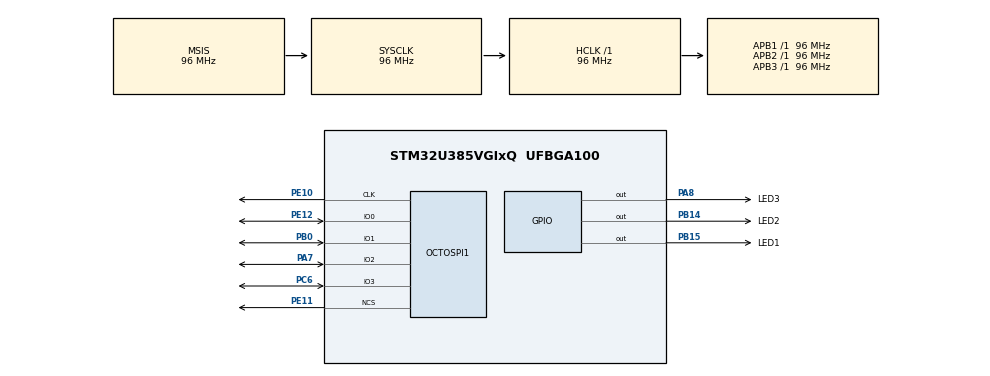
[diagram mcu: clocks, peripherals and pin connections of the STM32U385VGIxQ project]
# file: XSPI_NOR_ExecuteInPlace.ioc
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CORTEX_M33_NS.userName=CORTEX_M33
Mcu.Family=STM32U3
Mcu.Name=STM32U385VGIxQ
Mcu.Package=UFBGA100
NVIC.OCTOSPI1_IRQn=true\:0\:0\:false\:false\:true\:true\:true\:true
NVIC.PriorityGroup=NVIC_PRIORITYGROUP_4
OCTOSPI1.ChipSelectHighTimeCycle=2
OCTOSPI1.ClockPrescaler=1
OCTOSPI1.DelayHoldQuarterCycle=HAL_XSPI_DHQC_DISABLE
OCTOSPI1.DeviceType=SPI_DEVICE_FLASH
OCTOSPI1.MemorySize=HAL_XSPI_SIZE_32MB
OCTOSPI1.MemoryType=HAL_XSPI_MEMTYPE_MACRONIX
OCTOSPI1.SampleShifting=HAL_XSPI_SAMPLE_SHIFT_HALFCYCLE
PA7.Mode=OCTOSPI1_IO[3\:0]
PA7.Signal=OCTOSPI1_IO2
PA8.GPIO_Label=LED3
PA8.PinState=GPIO_PIN_SET
PA8.Signal=GPIO_Output
PB0.Mode=OCTOSPI1_IO[3\:0]
PB0.Signal=OCTOSPI1_IO1
PB14.GPIO_Label=LED2
PB14.PinState=GPIO_PIN_SET
PB14.Signal=GPIO_Output
PB15.GPIO_Label=LED1
PB15.PinState=GPIO_PIN_SET
PB15.Signal=GPIO_Output
PC6.Mode=OCTOSPI1_IO[3\:0]
PC6.Signal=OCTOSPI1_IO3
PE10.Mode=quad_mode
PE10.Signal=OCTOSPI1_CLK
PE11.Mode=quad_mode
PE11.Signal=OCTOSPI1_NCS
PE12.Mode=OCTOSPI1_IO[3\:0]
PE12.Signal=OCTOSPI1_IO0
ProjectManager.HeapSize=0x200
ProjectManager.StackSize=0x400
ProjectManager.TargetToolchain=EWARM V9.20
RCC.ADCFreq_Value=96000000
RCC.AHBFreq_Value=96000000
RCC.APB1Freq_Value=96000000
RCC.APB1TimFreq_Value=96000000
RCC.APB2Freq_Value=96000000
RCC.APB2TimFreq_Value=96000000
RCC.APB3Freq_Value=96000000
RCC.CortexFreq_Value=12000000
RCC.HCLKFreq_Value=96000000
RCC.HSE_VALUE=16000000
RCC.HSI48_VALUE=48000000
RCC.HSI_VALUE=16000000
RCC.LSE_VALUE=32768
RCC.LSIDIV_VALUE=32000
RCC.MSISDIV=RCC_MSI_DIV1
RCC.OCTOSPIMCLockSelection=RCC_OCTOSPICLKSOURCE_MSIK
RCC.SYSCLKFreq_VALUE=96000000
RCC.USBFreq_Value=96000000
VP_ICACHE_VS_ICACHE.Mode=DirectMappedCache
VP_PWR_VS_DBSignals.Mode=DisableDeadBatterySignals
VP_PWR_VS_LPOM.Mode=PowerOptimisation
VP_PWR_VS_SECSignals.Mode=Security/Privilege
board=custom

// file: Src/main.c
/* USER CODE BEGIN Header */
/**
  ******************************************************************************
  * @file           : main.c
  * @brief          : Main program body
  ******************************************************************************
  * @attention
  *
  * Copyright (c) 2024 STMicroelectronics.
  * All rights reserved.
  *
  * This software is licensed under terms that can be found in the LICENSE file
  * in the root directory of this software component.
  * If no LICENSE file comes with this software, it is provided AS-IS.
  *
  ******************************************************************************
  */
/* USER CODE END Header */
#include "main.h"

/* USER CODE BEGIN PD */
#if defined(__ARMCC_VERSION)
extern uint32_t Load$$QSPI$$Base;
extern uint32_t Load$$QSPI$$Length;
#elif defined(__ICCARM__)
#pragma section =".qspi"
#pragma section =".qspi_init"
#elif defined(__GNUC__)
extern uint32_t _qspi_init_base;
extern uint32_t _qspi_init_length;
#endif
/* USER CODE END PD */

XSPI_HandleTypeDef hxspi1;

/* USER CODE BEGIN PV */
__IO uint8_t CmdCplt, TxCplt;
/* USER CODE END PV */

void SystemClock_Config(void);
static void MX_GPIO_Init(void);
static void MX_OCTOSPI1_Init(void);
static void MX_ICACHE_Init(void);
/* USER CODE BEGIN PFP */
static void XSPI_WriteEnable(XSPI_HandleTypeDef *hxspi);
static void XSPI_AutoPollingMemReady(XSPI_HandleTypeDef *hxspi);
static void XSPI_NOR_QuadModeCfg(XSPI_HandleTypeDef *hxspi);
static void GpioToggle(void);
/* USER CODE END PFP */

int main(void)
{

  /* USER CODE BEGIN 1 */
  XSPI_RegularCmdTypeDef sCommand = {0};
  XSPI_MemoryMappedTypeDef sMemMappedCfg = {0};

  __IO uint32_t qspi_addr = 0;
  uint8_t *flash_addr = NULL;
  __IO uint8_t step = 0;
  uint32_t max_size, size = 0;
  /* USER CODE END 1 */

  /* MCU Configuration--------------------------------------------------------*/

  /* Reset of all peripherals, Initializes the Flash interface and the Systick. */
  HAL_Init();

  /* Configure the system clock */
  SystemClock_Config();

  /* Initialize all configured peripherals */
  MX_GPIO_Init();
  MX_OCTOSPI1_Init();
  MX_ICACHE_Init();
  /* USER CODE BEGIN 2 */

  /* Configure the memory in quad mode -------------------------------------- */
  XSPI_NOR_QuadModeCfg(&hxspi1);

#if defined(__ARMCC_VERSION)
  max_size = (uint32_t)(&Load$$QSPI$$Length);
#elif defined(__ICCARM__)
  max_size = __section_size(".qspi_init");
#elif defined(__GNUC__)
  max_size = (uint32_t)((uint8_t *)(&_qspi_init_length));
#endif
  /* USER CODE END 2 */

  /* Infinite loop */
  /* USER CODE BEGIN WHILE */
  while(1)
  {

    switch(step)
    {
      /* Step 0: Enable write operation (WE bit) and Erase Sector related
         to address: qspi_addr */
      case 0:
        CmdCplt = 0;
        TxCplt = 0;

        /* Enable write operations ------------------------------------------ */
        XSPI_WriteEnable(&hxspi1);

        /* Erasing Sequence ------------------------------------------------- */
        sCommand.OperationType      = HAL_XSPI_OPTYPE_COMMON_CFG;
        sCommand.Instruction        = SECTOR_ERASE_CMD;
        sCommand.InstructionMode    = HAL_XSPI_INSTRUCTION_1_LINE;
        sCommand.InstructionWidth   = HAL_XSPI_INSTRUCTION_8_BITS;
        sCommand.InstructionDTRMode = HAL_XSPI_INSTRUCTION_DTR_DISABLE;
        sCommand.AddressMode        = HAL_XSPI_ADDRESS_1_LINE;
        sCommand.AddressWidth       = HAL_XSPI_ADDRESS_24_BITS;
        sCommand.AddressDTRMode     = HAL_XSPI_ADDRESS_DTR_DISABLE;
        sCommand.AlternateBytesMode = HAL_XSPI_ALT_BYTES_NONE;
        sCommand.DataDTRMode        = HAL_XSPI_DATA_DTR_DISABLE;
        sCommand.DataMode           = HAL_XSPI_DATA_NONE;
        sCommand.Address            = qspi_addr;
        sCommand.DummyCycles        = 0;
        sCommand.DQSMode            = HAL_XSPI_DQS_DISABLE;

        if (HAL_XSPI_Command_IT(&hxspi1, &sCommand) != HAL_OK)
        {
          Error_Handler();
        }

#if defined(__ARMCC_VERSION)
        flash_addr = (uint8_t *)(&Load$$QSPI$$Base);
#elif defined(__ICCARM__)
        flash_addr = (uint8_t *)(__section_begin(".qspi_init"));
#elif defined(__GNUC__)
        flash_addr = (uint8_t *)(&_qspi_init_base);
#endif

        /* Copy only one page if the section is bigger */
        if (max_size > QSPI_PAGE_SIZE)
        {
          size = QSPI_PAGE_SIZE;
        }
        else
        {
          size = max_size;
        }

        step++;
        break;

      /* Step 1: Wait end of Write In Progress (WIP bit), enable write operation
         (WE bit) and Write data present at address: flash_addr */
      case 1:
        if(CmdCplt != 0)
        {
          CmdCplt = 0;

          /* Configure automatic polling mode to wait for end of erase ------ */
          XSPI_AutoPollingMemReady(&hxspi1);

          /* Enable write operations ---------------------------------------- */
          XSPI_WriteEnable(&hxspi1);

          /* Writing Sequence ----------------------------------------------- */
          sCommand.Instruction = QUAD_PAGE_PROG_CMD;
          sCommand.DataMode    = HAL_XSPI_DATA_4_LINES;
          sCommand.AddressMode = HAL_XSPI_ADDRESS_4_LINES;
          sCommand.DataLength  = size;
          sCommand.Address     = qspi_addr;

          if (HAL_XSPI_Command(&hxspi1, &sCommand, HAL_XSPI_TIMEOUT_DEFAULT_VALUE) != HAL_OK)
          {
            Error_Handler();
          }

          if (HAL_XSPI_Transmit_IT(&hxspi1, flash_addr) != HAL_OK)
          {
            Error_Handler();
          }

          step++;
        }
        break;

      /* Step 2: Check if another page is needed to flash data */
      case 2:
        if(TxCplt != 0)
        {
          TxCplt = 0;

          qspi_addr += size;
          flash_addr += size;

          /* Check if a new page writing is needed */
          if (qspi_addr < max_size)
          {
            /* Update the remaining size if it is less than the page size */
            if ((qspi_addr + size) > max_size)
            {
              size = (max_size - qspi_addr);
            }
            step = 1;
          }
          else
          {
            /* Configure automatic polling mode to wait for end of erase ---- */
            XSPI_AutoPollingMemReady(&hxspi1);

            step++;
          }
        }
        break;

      /* Step 3: Switch memory in Mapped Mode */
      case 3:
        /* Memory-mapped mode configuration --------------------------------- */
        sCommand.OperationType      = HAL_XSPI_OPTYPE_READ_CFG;
        sCommand.IOSelect           = HAL_XSPI_SELECT_IO_3_0;
        sCommand.InstructionMode    = HAL_XSPI_INSTRUCTION_1_LINE;
        sCommand.InstructionDTRMode = HAL_XSPI_INSTRUCTION_DTR_DISABLE;
        sCommand.InstructionWidth   = HAL_XSPI_INSTRUCTION_8_BITS;
        sCommand.Instruction        = QUAD_IO_READ_CMD;
        sCommand.AddressMode        = HAL_XSPI_ADDRESS_4_LINES;
        sCommand.AddressDTRMode     = HAL_XSPI_ADDRESS_DTR_DISABLE;
        sCommand.AddressWidth       = HAL_XSPI_ADDRESS_24_BITS;
        sCommand.AlternateBytesMode = HAL_XSPI_ALT_BYTES_NONE;
        sCommand.DataMode           = HAL_XSPI_DATA_4_LINES;
        sCommand.DataDTRMode        = HAL_XSPI_DATA_DTR_DISABLE;
        sCommand.DummyCycles        = DUMMY_CLOCK_CYCLES_READ_QUAD;
        sCommand.DQSMode            = HAL_XSPI_DQS_DISABLE;
        sCommand.Address            = 0;

        if (HAL_XSPI_Command(&hxspi1, &sCommand, HAL_XSPI_TIMEOUT_DEFAULT_VALUE) != HAL_OK)
        {
          Error_Handler();
        }

        sCommand.OperationType      = HAL_XSPI_OPTYPE_WRITE_CFG;
        sCommand.Instruction        = QUAD_PAGE_PROG_CMD;
        sCommand.DummyCycles        = 0U;

        if (HAL_XSPI_Command(&hxspi1, &sCommand, HAL_XSPI_TIMEOUT_DEFAULT_VALUE) != HAL_OK)
        {
          Error_Handler();
        }

        sMemMappedCfg.TimeOutActivation  = HAL_XSPI_TIMEOUT_COUNTER_DISABLE;
        sMemMappedCfg.TimeoutPeriodClock = 0x40;

        if (HAL_XSPI_MemoryMapped(&hxspi1, &sMemMappedCfg) != HAL_OK)
        {
          Error_Handler();
        }
        step++;
        break;

      /* Step 4: Executed function present inside the memory mapped.
         This function has been previously flashed inside memory at Step1 */
      case 4:
        /* Execute the code from QSPI memory -------------------------------- */
        GpioToggle();
        break;
    }
    /* USER CODE END WHILE */

  }
}

void SystemClock_Config(void)
{
  RCC_OscInitTypeDef RCC_OscInitStruct = {0};
  RCC_ClkInitTypeDef RCC_ClkInitStruct = {0};

  /** Enable Epod Booster
  */
  if (HAL_RCCEx_EpodBoosterClkConfig(RCC_EPODBOOSTER_SOURCE_MSIS, RCC_EPODBOOSTER_DIV1) != HAL_OK)
  {
    Error_Handler();
  }

  if (HAL_PWREx_EnableEpodBooster() != HAL_OK)
  {
    Error_Handler();
  }

  /** Configure the main internal regulator output voltage
  */
  if (HAL_PWREx_ControlVoltageScaling(PWR_REGULATOR_VOLTAGE_SCALE1) != HAL_OK)
  {
    Error_Handler();
  }

  /** Set Flash latency before increasing MSIS
  */
  __HAL_FLASH_SET_LATENCY(FLASH_LATENCY_2);

  /** Initializes the CPU, AHB and APB buses clocks
  */
  RCC_OscInitStruct.OscillatorType = RCC_OSCILLATORTYPE_MSIS|RCC_OSCILLATORTYPE_MSIK;
  RCC_OscInitStruct.MSISState = RCC_MSI_ON;
  RCC_OscInitStruct.MSISSource = RCC_MSI_RC0;
  RCC_OscInitStruct.MSISDiv = RCC_MSI_DIV1;
  RCC_OscInitStruct.MSIKState = RCC_MSI_ON;
  RCC_OscInitStruct.MSIKSource = RCC_MSI_RC0;
  RCC_OscInitStruct.MSIKDiv = RCC_MSI_DIV1;

  if (HAL_RCC_OscConfig(&RCC_OscInitStruct) != HAL_OK)
  {
    Error_Handler();
  }

  /** Initializes the CPU, AHB and APB buses clocks
  */
  RCC_ClkInitStruct.ClockType = RCC_CLOCKTYPE_HCLK|RCC_CLOCKTYPE_SYSCLK
                              |RCC_CLOCKTYPE_PCLK1|RCC_CLOCKTYPE_PCLK2
                              |RCC_CLOCKTYPE_PCLK3;
  RCC_ClkInitStruct.SYSCLKSource = RCC_SYSCLKSOURCE_MSIS;
  RCC_ClkInitStruct.AHBCLKDivider = RCC_SYSCLK_DIV1;
  RCC_ClkInitStruct.APB1CLKDivider = RCC_HCLK_DIV1;
  RCC_ClkInitStruct.APB2CLKDivider = RCC_HCLK_DIV1;
  RCC_ClkInitStruct.APB3CLKDivider = RCC_HCLK_DIV1;

  if (HAL_RCC_ClockConfig(&RCC_ClkInitStruct, FLASH_LATENCY_2) != HAL_OK)
  {
    Error_Handler();
  }
}

static void MX_ICACHE_Init(void)
{

  /** Enable instruction cache in 1-way (direct mapped cache)
  */
  if (HAL_ICACHE_ConfigAssociativityMode(ICACHE_1WAY) != HAL_OK)
  {
    Error_Handler();
  }
  if (HAL_ICACHE_Enable() != HAL_OK)
  {
    Error_Handler();
  }

}

static void MX_OCTOSPI1_Init(void)
{

  /* OCTOSPI1 parameter configuration*/
  hxspi1.Instance = OCTOSPI1;
  hxspi1.Init.FifoThresholdByte = 1;
  hxspi1.Init.MemoryMode = HAL_XSPI_SINGLE_MEM;
  hxspi1.Init.MemoryType = HAL_XSPI_MEMTYPE_MACRONIX;
  hxspi1.Init.MemorySize = HAL_XSPI_SIZE_32MB;
  hxspi1.Init.ChipSelectHighTimeCycle = 2;
  hxspi1.Init.FreeRunningClock = HAL_XSPI_FREERUNCLK_DISABLE;
  hxspi1.Init.ClockMode = HAL_XSPI_CLOCK_MODE_0;
  hxspi1.Init.WrapSize = HAL_XSPI_WRAP_NOT_SUPPORTED;
  hxspi1.Init.ClockPrescaler = 1;
  hxspi1.Init.SampleShifting = HAL_XSPI_SAMPLE_SHIFT_HALFCYCLE;
  hxspi1.Init.DelayHoldQuarterCycle = HAL_XSPI_DHQC_DISABLE;
  hxspi1.Init.ChipSelectBoundary = HAL_XSPI_BONDARYOF_NONE;
  hxspi1.Init.DelayBlockBypass = HAL_XSPI_DELAY_BLOCK_BYPASS;
  hxspi1.Init.MaxTran = 0;
  hxspi1.Init.Refresh = 0;
  if (HAL_XSPI_Init(&hxspi1) != HAL_OK)
  {
    Error_Handler();
  }

}

static void MX_GPIO_Init(void)
{
  GPIO_InitTypeDef GPIO_InitStruct = {0};

  /* GPIO Ports Clock Enable */
  __HAL_RCC_GPIOA_CLK_ENABLE();
  __HAL_RCC_GPIOC_CLK_ENABLE();
  __HAL_RCC_GPIOB_CLK_ENABLE();
  __HAL_RCC_GPIOE_CLK_ENABLE();

  /*Configure GPIO pin Output Level */
  HAL_GPIO_WritePin(LED3_GPIO_Port, LED3_Pin, GPIO_PIN_SET);

  /*Configure GPIO pin Output Level */
  HAL_GPIO_WritePin(GPIOB, LED2_Pin|LED1_Pin, GPIO_PIN_SET);

  /*Configure GPIO pin : LED3_Pin */
  GPIO_InitStruct.Pin = LED3_Pin;
  GPIO_InitStruct.Mode = GPIO_MODE_OUTPUT_PP;
  GPIO_InitStruct.Pull = GPIO_NOPULL;
  GPIO_InitStruct.Speed = GPIO_SPEED_FREQ_LOW;
  HAL_GPIO_Init(LED3_GPIO_Port, &GPIO_InitStruct);

  /*Configure GPIO pins : LED2_Pin LED1_Pin */
  GPIO_InitStruct.Pin = LED2_Pin|LED1_Pin;
  GPIO_InitStruct.Mode = GPIO_MODE_OUTPUT_PP;
  GPIO_InitStruct.Pull = GPIO_NOPULL;
  GPIO_InitStruct.Speed = GPIO_SPEED_FREQ_LOW;
  HAL_GPIO_Init(GPIOB, &GPIO_InitStruct);

}

/* USER CODE BEGIN 4 */
/**
  * @brief  Command completed callbacks.
  * @param  hxspi: XSPI handle
  * @retval None
  */
void HAL_XSPI_CmdCpltCallback(XSPI_HandleTypeDef *hxspi)
{
  CmdCplt++;
}

/**
  * @brief  Tx Transfer completed callbacks.
  * @param  hqspi QSPI handle
  * @retval None
  */
void HAL_XSPI_TxCpltCallback(XSPI_HandleTypeDef *hqspi)
{
  TxCplt++;
}
/**
* @brief  This function configure the memory in Quad mode.
* @param  hxspi: XSPI handle
* @retval None
*/
static void XSPI_NOR_QuadModeCfg(XSPI_HandleTypeDef *hxspi)
{
  uint8_t reg[3] = {0};
  XSPI_RegularCmdTypeDef  sCommand = {0};
  XSPI_AutoPollingTypeDef sConfig  = {0};

  sCommand.OperationType      = HAL_XSPI_OPTYPE_COMMON_CFG;
  sCommand.InstructionMode    = HAL_XSPI_INSTRUCTION_1_LINE;
  sCommand.InstructionWidth   = HAL_XSPI_INSTRUCTION_8_BITS;
  sCommand.InstructionDTRMode = HAL_XSPI_INSTRUCTION_DTR_DISABLE;
  sCommand.AddressDTRMode     = HAL_XSPI_ADDRESS_DTR_DISABLE;
  sCommand.AlternateBytesMode = HAL_XSPI_ALT_BYTES_NONE;
  sCommand.DataDTRMode        = HAL_XSPI_DATA_DTR_DISABLE;
  sCommand.DummyCycles        = 0;
  sCommand.DQSMode            = HAL_XSPI_DQS_DISABLE;

  /* Enable write operations */
  sCommand.Instruction        = WRITE_ENABLE_CMD;
  sCommand.DataMode           = HAL_XSPI_DATA_NONE;
  sCommand.AddressMode        = HAL_XSPI_ADDRESS_NONE;

  if (HAL_XSPI_Command(hxspi, &sCommand, HAL_XSPI_TIMEOUT_DEFAULT_VALUE) != HAL_OK)
  {
    Error_Handler();
  }

  /* Reconfigure XSPI to automatic polling mode to wait for write enabling */
  sCommand.Instruction        = READ_STATUS_REG_CMD;
  sCommand.DataMode           = HAL_XSPI_DATA_1_LINE;
  sCommand.DataLength         = READ_STATUS_SIZE;

  if (HAL_XSPI_Command(hxspi, &sCommand, HAL_XSPI_TIMEOUT_DEFAULT_VALUE) != HAL_OK)
  {
    Error_Handler();
  }

  sConfig.MatchMask           = WRITE_ENABLE_MASK_VALUE;
  sConfig.MatchValue          = WRITE_ENABLE_MATCH_VALUE;
  sConfig.MatchMode           = HAL_XSPI_MATCH_MODE_AND;
  sConfig.AutomaticStop       = HAL_XSPI_AUTOMATIC_STOP_ENABLE;
  sConfig.IntervalTime        = 0x10;

  if (HAL_XSPI_AutoPolling(hxspi, &sConfig, HAL_XSPI_TIMEOUT_DEFAULT_VALUE) != HAL_OK)
  {
    Error_Handler();
  }

  /* Write Status register: with Quad I/O SPI protocol and High Perf (up to 80MHz) */
  sCommand.Instruction         = WRITE_STATUS_CFG_REG_CMD;
  sCommand.DataLength          = STATUS_CFG_SIZE;
  sCommand.Address             = 0;
  reg[0]                       = QUAD_ENABLE_MATCH_VALUE;
  reg[2]                       = HIGH_PERF_MATCH_VALUE;

  if (HAL_XSPI_Command(hxspi, &sCommand, HAL_XSPI_TIMEOUT_DEFAULT_VALUE) != HAL_OK)
  {
    Error_Handler();
  }

  if (HAL_XSPI_Transmit(hxspi, &reg[0], HAL_XSPI_TIMEOUT_DEFAULT_VALUE) != HAL_OK)
  {
    Error_Handler();
  }

  /* Reconfigure XSPI to automatic polling mode to wait for Quad enabling */
  sCommand.Instruction        = READ_STATUS_REG_CMD;
  sCommand.DataMode           = HAL_XSPI_DATA_1_LINE;
  sCommand.DataLength         = READ_STATUS_SIZE;

  if (HAL_XSPI_Command(hxspi, &sCommand, HAL_XSPI_TIMEOUT_DEFAULT_VALUE) != HAL_OK)
  {
    Error_Handler();
  }

  sConfig.MatchMask           = QUAD_ENABLE_MASK_VALUE;
  sConfig.MatchValue          = QUAD_ENABLE_MATCH_VALUE;

  if (HAL_XSPI_AutoPolling(hxspi, &sConfig, HAL_XSPI_TIMEOUT_DEFAULT_VALUE) != HAL_OK)
  {
    Error_Handler();
  }

  /* Reconfigure XSPI to automatic polling mode to wait Write Enable disabling */
  sCommand.Instruction        = READ_STATUS_REG_CMD;
  sCommand.DataMode           = HAL_XSPI_DATA_1_LINE;
  sCommand.DataLength         = READ_STATUS_SIZE;

  if (HAL_XSPI_Command(hxspi, &sCommand, HAL_XSPI_TIMEOUT_DEFAULT_VALUE) != HAL_OK)
  {
    Error_Handler();
  }

  sConfig.MatchMask           = WRITE_ENABLE_MASK_VALUE;
  sConfig.MatchValue          = WRITE_DISABLE_MATCH_VALUE;
  sConfig.MatchMode           = HAL_XSPI_MATCH_MODE_AND;
  sConfig.AutomaticStop       = HAL_XSPI_AUTOMATIC_STOP_ENABLE;
  sConfig.IntervalTime        = 0x10;

  if (HAL_XSPI_AutoPolling(hxspi, &sConfig, HAL_XSPI_TIMEOUT_DEFAULT_VALUE) != HAL_OK)
  {
    Error_Handler();
  }
}

/**
  * @brief  This function send a Write Enable and wait it is effective.
  * @param  hxspi: XSPI handle
  * @retval None
  */
static void XSPI_WriteEnable(XSPI_HandleTypeDef *hxspi)
{
  XSPI_RegularCmdTypeDef  sCommand = {0};
  XSPI_AutoPollingTypeDef s_config = {0};

  /* Enable write operations ------------------------------------------ */
  sCommand.OperationType      = HAL_XSPI_OPTYPE_COMMON_CFG;
  sCommand.InstructionMode    = HAL_XSPI_INSTRUCTION_1_LINE;
  sCommand.InstructionWidth   = HAL_XSPI_INSTRUCTION_8_BITS;
  sCommand.InstructionDTRMode = HAL_XSPI_INSTRUCTION_DTR_DISABLE;
  sCommand.AddressDTRMode     = HAL_XSPI_ADDRESS_DTR_DISABLE;
  sCommand.AlternateBytesMode = HAL_XSPI_ALT_BYTES_NONE;
  sCommand.DataDTRMode        = HAL_XSPI_DATA_DTR_DISABLE;
  sCommand.DummyCycles        = 0;
  sCommand.DQSMode            = HAL_XSPI_DQS_DISABLE;

  /* Enable write operations */
  sCommand.Instruction        = WRITE_ENABLE_CMD;
  sCommand.DataMode           = HAL_XSPI_DATA_NONE;
  sCommand.AddressMode        = HAL_XSPI_ADDRESS_NONE;

  if (HAL_XSPI_Command(hxspi, &sCommand, HAL_XSPI_TIMEOUT_DEFAULT_VALUE) != HAL_OK)
  {
    Error_Handler();
  }

  /* Reconfigure XSPI to automatic polling mode to wait for write enabling */
  sCommand.Instruction        = READ_STATUS_REG_CMD;
  sCommand.DataMode           = HAL_XSPI_DATA_1_LINE;
  sCommand.DataLength         = READ_STATUS_SIZE;

  /* Send the command */
  if (HAL_XSPI_Command(hxspi, &sCommand, HAL_XSPI_TIMEOUT_DEFAULT_VALUE) != HAL_OK)
  {
      Error_Handler();
  }

  s_config.MatchValue         = WRITE_ENABLE_MASK_VALUE;
  s_config.MatchMask          = WRITE_ENABLE_MATCH_VALUE;
  s_config.MatchMode          = HAL_XSPI_MATCH_MODE_AND;
  s_config.IntervalTime       = 0x10;
  s_config.AutomaticStop      = HAL_XSPI_AUTOMATIC_STOP_ENABLE;

  if (HAL_XSPI_AutoPolling(hxspi, &s_config, HAL_XSPI_TIMEOUT_DEFAULT_VALUE) != HAL_OK)
  {
      Error_Handler();
  }
}

/**
  * @brief  This function read the SR of the memory and wait the EOP.
  * @param  hxspi: XSPI handle
  * @retval None
  */
static void XSPI_AutoPollingMemReady(XSPI_HandleTypeDef *hxspi)
{
  XSPI_RegularCmdTypeDef  sCommand = {0};
  XSPI_AutoPollingTypeDef s_config = {0};

  /* Enable write operations ------------------------------------------ */
  sCommand.OperationType      = HAL_XSPI_OPTYPE_COMMON_CFG;
  sCommand.InstructionMode    = HAL_XSPI_INSTRUCTION_1_LINE;
  sCommand.InstructionWidth   = HAL_XSPI_INSTRUCTION_8_BITS;
  sCommand.InstructionDTRMode = HAL_XSPI_INSTRUCTION_DTR_DISABLE;
  sCommand.AddressDTRMode     = HAL_XSPI_ADDRESS_DTR_DISABLE;
  sCommand.AddressMode        = HAL_XSPI_ADDRESS_NONE;
  sCommand.AlternateBytesMode = HAL_XSPI_ALT_BYTES_NONE;
  sCommand.DataDTRMode        = HAL_XSPI_DATA_DTR_DISABLE;
  sCommand.DummyCycles        = 0;
  sCommand.DQSMode            = HAL_XSPI_DQS_DISABLE;

  /* Configure XSPI to automatic polling mode to wait end of write in progress */
  sCommand.Instruction        = READ_STATUS_REG_CMD;
  sCommand.DataMode           = HAL_XSPI_DATA_1_LINE;
  sCommand.DataLength         = READ_STATUS_SIZE;

  /* Send the command */
  if (HAL_XSPI_Command(hxspi, &sCommand, HAL_XSPI_TIMEOUT_DEFAULT_VALUE) != HAL_OK)
  {
    Error_Handler();
  }

  s_config.MatchValue         = MEMORY_READY_MATCH_VALUE;
  s_config.MatchMask          = MEMORY_READY_MASK_VALUE;
  s_config.MatchMode          = HAL_XSPI_MATCH_MODE_AND;
  s_config.IntervalTime       = 0x10;
  s_config.AutomaticStop      = HAL_XSPI_AUTOMATIC_STOP_ENABLE;

  if (HAL_XSPI_AutoPolling(hxspi, &s_config, HAL_XSPI_TIMEOUT_DEFAULT_VALUE) != HAL_OK)
  {
    Error_Handler();
  }
}

/**
  * @brief  Toggle the GPIOs
  * @param  None
  * @retval None
  */

#if defined(__ICCARM__)
static void GpioToggle(void) @ ".qspi"
#elif defined(__ARMCC_VERSION)|| defined(__GNUC__)
static void __attribute__((section(".xspi"), noinline)) GpioToggle(void)
#endif
{

  HAL_GPIO_TogglePin(LED1_GPIO_Port, LED1_Pin);
  /* Insert delay 100 ms */
  HAL_Delay(100);
  HAL_GPIO_TogglePin(LED2_GPIO_Port, LED2_Pin);
  /* Insert delay 100 ms */
  HAL_Delay(100);
  HAL_GPIO_TogglePin(LED3_GPIO_Port, LED3_Pin);
  /* Insert delay 100 ms */
  HAL_Delay(100);
}

/* USER CODE END 4 */

void Error_Handler(void)
{
  __disable_irq();
  while(1)
  {
  }
}
